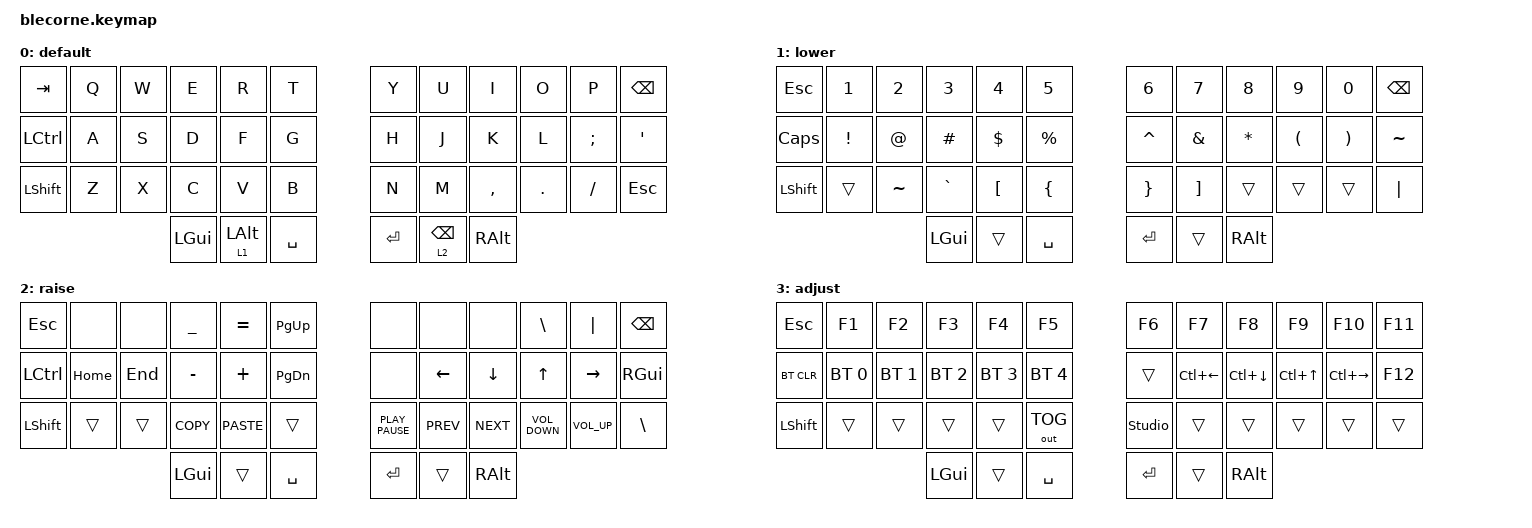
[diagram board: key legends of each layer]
/*
 * Copyright (c) 2020 The ZMK Contributors
 *
 * SPDX-License-Identifier: MIT
 */

#include <behaviors.dtsi>
#include <dt-bindings/zmk/keys.h>
#include <dt-bindings/zmk/bt.h>

/ {
    conditional_layers {
        compatible = "zmk,conditional-layers";

        adjust {
            if-layers = <2 1>;
            then-layer = <3>;
        };
    };

    keymap {
        compatible = "zmk,keymap";

        DEFAULT {
            // -----------------------------------------------------------------------------------------
            // |  TAB |  Q  |  W  |  E  |  R  |  T  |   |  Y  |  U   |  I  |  O  |  P  | BKSP |
            // | CTRL |  A  |  S  |  D  |  F  |  G  |   |  H  |  J   |  K  |  L  |  ;  |  '   |
            // | SHFT |  Z  |  X  |  C  |  V  |  B  |   |  N  |  M   |  ,  |  .  |  /  | ESC  |
            //                    | GUI | LWR | SPC |   | ENT | RSE  | ALT |

            bindings = <
&kp TAB    &kp Q  &kp W  &kp E     &kp R       &kp T        &kp Y    &kp U            &kp I      &kp O    &kp P     &kp BSPC
&kp LCTRL  &kp A  &kp S  &kp D     &kp F       &kp G        &kp H    &kp J            &kp K      &kp L    &kp SEMI  &kp SQT
&kp LSHFT  &kp Z  &kp X  &kp C     &kp V       &kp B        &kp N    &kp M            &kp COMMA  &kp DOT  &kp FSLH  &kp ESC
                         &kp LGUI  &lt 1 LALT  &kp SPACE    &kp RET  &lt 2 BACKSPACE  &kp RALT
            >;

            label = "default";
        };

        LOWER {
            // -----------------------------------------------------------------------------------------
            // |  TAB |  1  |  2  |  3  |  4  |  5  |   |  6  |  7  |  8  |  9  |  0  | BKSP |
            // | BTCLR| BT1 | BT2 | BT3 | BT4 | BT5 |   | LFT | DWN |  UP | RGT |     |      |
            // | SHFT |     |     |     |     |     |   |     |     |     |     |     |      |
            //                    | GUI |     | SPC |   | ENT |     | ALT |

            bindings = <
&kp ESC       &kp N1    &kp N2     &kp N3     &kp N4            &kp N5            &kp N6           &kp N7             &kp N8        &kp N9                &kp N0                 &kp BSPC
&kp CAPSLOCK  &kp EXCL  &kp AT     &kp HASH   &kp DOLLAR        &kp PERCENT       &kp CARET        &kp AMPERSAND      &kp ASTERISK  &kp LEFT_PARENTHESIS  &kp RIGHT_PARENTHESIS  &kp TILDE
&kp LSHFT     &trans    &kp TILDE  &kp GRAVE  &kp LEFT_BRACKET  &kp LEFT_BRACE    &kp RIGHT_BRACE  &kp RIGHT_BRACKET  &trans        &trans                &trans                 &kp PIPE
                                   &kp LGUI   &trans            &kp SPACE         &kp RET          &trans             &kp RALT
            >;

            label = "lower";
        };

        RAISE {
            // -----------------------------------------------------------------------------------------
            // |  TAB |  !  |  @  |  #  |  $  |  %  |   |  ^  |  &  |  *  |  (  |  )  | BKSP |
            // | CTRL |     |     |     |     |     |   |  -  |  =  |  [  |  ]  |  \  |  `   |
            // | SHFT |     |     |     |     |     |   |  _  |  +  |  {  |  }  | "|" |  ~   |
            //                    | GUI |     | SPC |   | ENT |     | ALT |

            bindings = <
&kp ESC    &none     &none    &kp UNDER   &kp EQUAL    &kp PAGE_UP      &none             &none       &none       &kp BACKSLASH      &kp PIPE         &kp BSPC
&kp LCTRL  &kp HOME  &kp END  &kp MINUS   &kp PLUS     &kp PAGE_DOWN    &none             &kp LEFT    &kp DOWN    &kp UP_ARROW       &kp RIGHT        &kp RIGHT_GUI
&kp LSHFT  &trans    &trans   &kp K_COPY  &kp K_PASTE  &trans           &kp K_PLAY_PAUSE  &kp K_PREV  &kp K_NEXT  &kp C_VOLUME_DOWN  &kp C_VOLUME_UP  &kp BACKSLASH
                              &kp LGUI    &trans       &kp SPACE        &kp RET           &trans      &kp RALT
            >;

            label = "raise";
        };

        ADJUST {
            bindings = <
&kp ESC     &kp F1        &kp F2        &kp F3        &kp F4        &kp F5          &kp F6           &kp F7        &kp F8        &kp F9            &kp F10        &kp F11
&bt BT_CLR  &bt BT_SEL 0  &bt BT_SEL 1  &bt BT_SEL 2  &bt BT_SEL 3  &bt BT_SEL 4    &trans           &kp LC(LEFT)  &kp LC(DOWN)  &kp LC(UP_ARROW)  &kp LC(RIGHT)  &kp F12
&kp LSHFT   &trans        &trans        &trans        &trans        &out OUT_TOG    &studio_unlock   &trans        &trans        &trans            &trans         &trans
                                        &kp LGUI      &trans        &kp SPACE       &kp RET          &trans        &kp RALT
            >;

            label = "adjust";
        };
};
